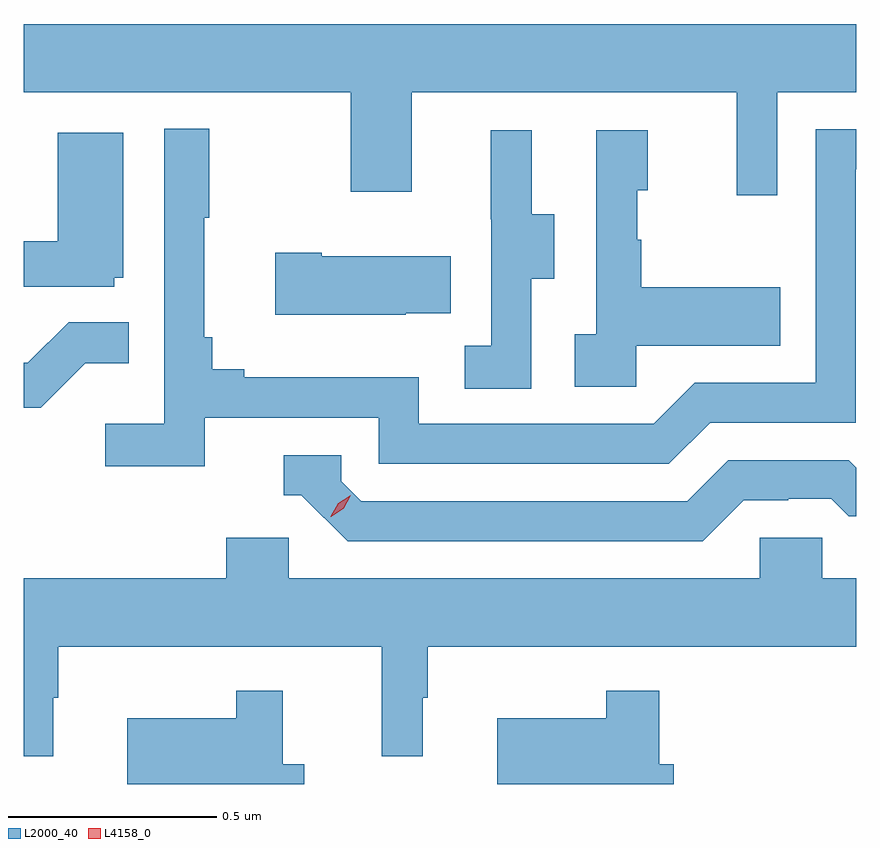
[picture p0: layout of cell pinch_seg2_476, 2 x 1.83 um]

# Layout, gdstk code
import gdstk
lib = gdstk.Library(unit=1e-6, precision=1e-09)
def P(c, l, *ps):  # polygons
    for p in ps: c.add(gdstk.Polygon(p, *l))
L2000_40 = (2000, 40)
L4158_0 = (4158, 0)

pinch_seg2_476 = lib.new_cell('pinch_seg2_476')
P(pinch_seg2_476, L2000_40, [(910.995,598.352),(911.185,598.352),(911.185,598.516),(909.185,598.516),(909.185,598.352),(909.97,598.352),(909.97,598.113),(910.117,598.113),(910.117,598.352),(910.898,598.352),(910.898,598.104),(910.995,598.104)],
  [(909.62,597.57),(910.038,597.57),(910.038,597.459),(910.735,597.459),(910.834,597.558),(911.184,597.558),(911.184,598.167),(911.185,598.167),(911.185,598.263),(911.088,598.263),(911.088,597.654),(910.797,597.654),(910.698,597.555),(910.134,597.555),(910.134,597.667),(909.715,597.667),(909.715,597.686),(909.638,597.686),(909.638,597.763),(909.619,597.763),(909.619,598.051),(909.631,598.051),(909.631,598.264),(909.522,598.264),(909.522,597.556),(909.381,597.556),(909.381,597.454),(909.62,597.454)],
  [(910.656,597.743),(911.003,597.743),(911.003,597.883),(910.669,597.883),(910.669,597.998),(910.659,597.998),(910.659,598.116),(910.684,598.116),(910.684,598.261),(910.56,598.261),(910.56,597.77),(910.509,597.77),(910.509,597.645),(910.656,597.645)],
  [(910.404,597.904),(910.459,597.904),(910.459,598.059),(910.405,598.059),(910.405,598.261),(910.307,598.261),(910.307,598.047),(910.308,598.047),(910.308,597.743),(910.245,597.743),(910.245,597.64),(910.404,597.64)],
  [(909.402,597.906),(909.424,597.906),(909.424,598.255),(909.266,598.255),(909.266,597.994),(909.185,597.994),(909.185,597.885),(909.402,597.885)],
  [(910.103,597.821),(910.211,597.821),(910.211,597.958),(909.901,597.958),(909.901,597.966),(909.789,597.966),(909.789,597.818),(910.103,597.818)],
  [(909.333,597.701),(909.437,597.701),(909.437,597.8),(909.293,597.8),(909.195,597.702),(909.185,597.702),(909.185,597.594),(909.226,597.594)],
  [(910.915,597.372),(911.022,597.372),(911.022,597.375),(911.125,597.375),(911.167,597.333),(911.185,597.333),(911.185,597.45),(911.167,597.468),(910.878,597.468),(910.779,597.369),(909.996,597.369),(909.948,597.417),(909.948,597.48),(909.809,597.48),(909.809,597.384),(909.852,597.384),(909.963,597.273),(910.816,597.273)],
  [(909.256,596.897),(909.268,596.897),(909.268,597.02),(910.045,597.02),(910.045,596.757),(910.144,596.757),(910.144,596.897),(910.156,596.897),(910.156,597.02),(911.185,597.02),(911.185,597.184),(911.103,597.184),(911.103,597.282),(910.953,597.282),(910.953,597.184),(909.822,597.184),(909.822,597.282),(909.671,597.282),(909.671,597.184),(909.185,597.184),(909.185,596.757),(909.256,596.757)],
  [(909.859,596.737),(909.807,596.737),(909.807,596.914),(909.696,596.914),(909.696,596.848),(909.434,596.848),(909.434,596.69),(909.859,596.69)],
  [(910.747,596.737),(910.712,596.737),(910.712,596.914),(910.584,596.914),(910.584,596.848),(910.322,596.848),(910.322,596.69),(910.747,596.69)])
P(pinch_seg2_476, L4158_0, [(909.923,597.332),(909.923,597.333),(909.94,597.365),(909.97,597.384),(909.971,597.384),(909.971,597.384),(909.954,597.352),(909.924,597.332)])

lib.write_gds('pinch_seg2_476.gds')
